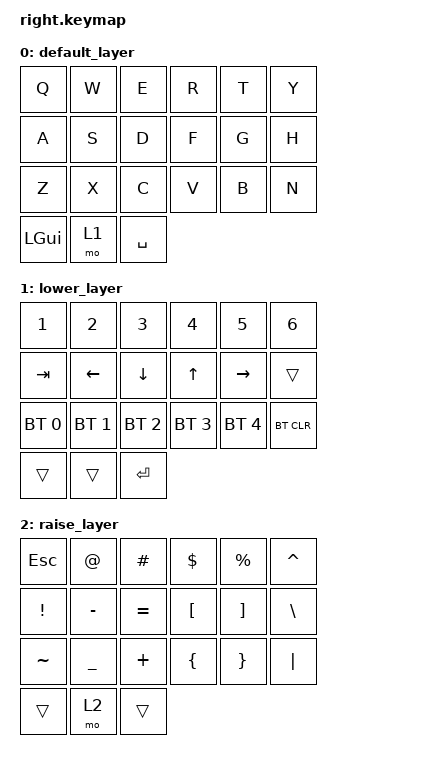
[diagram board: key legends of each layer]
// Copyright (c) 2025
// SPDX-License-Identifier: MIT

#include <behaviors.dtsi>
#include <dt-bindings/zmk/keys.h>
#include <dt-bindings/zmk/bt.h>

/ {
    keymap {
        compatible = "zmk,keymap";
        
        default_layer {
            // -----------------------------------------------------------------------------------------
            // |  Q  |  W  |  E  |  R  |  T  |  Y  |
            // |  A  |  S  |  D  |  F  |  G  |  H  |
            // |  Z  |  X  |  C  |  V  |  B  |  N  |
            // | GUI | LWR | SPC |
            bindings = <
                &kp Q    &kp W    &kp E     &kp R     &kp T     &kp Y
                &kp A    &kp S    &kp D     &kp F     &kp G     &kp H
                &kp Z    &kp X    &kp C     &kp V     &kp B     &kp N
                &kp LGUI &mo 1     &kp SPACE
            >;
        };
        
        lower_layer {
            // -----------------------------------------------------------------------------------------
            // |  1  |  2  |  3  |  4  |  5  |  6  |
            // | TAB | LFT | DWN | UP  | RGT |     |
            // | BT1 | BT2 | BT3 | BT4 | BT5 | CLR |
            // |     |     | ENT |
            bindings = <
                &kp N1       &kp N2       &kp N3       &kp N4       &kp N5       &kp N6
                &kp TAB      &kp LEFT     &kp DOWN     &kp UP       &kp RIGHT    &trans
                &bt BT_SEL 0 &bt BT_SEL 1 &bt BT_SEL 2 &bt BT_SEL 3 &bt BT_SEL 4 &bt BT_CLR
                &trans       &trans       &kp RET
            >;
        };
        
        raise_layer {
            // -----------------------------------------------------------------------------------------
            // | ESC |  @  |  #  |  $  |  %  |  ^  |
            // |  !  |  -  |  =  |  [  |  ]  |  \  |
            // |  ~  |  _  |  +  |  {  |  }  |  |  |
            // |     | RSE |     |
            bindings = <
                &kp ESC   &kp AT    &kp HASH  &kp DLLR  &kp PRCNT &kp CARET
                &kp EXCL  &kp MINUS &kp EQUAL &kp LBKT  &kp RBKT  &kp BSLH
                &kp TILDE &kp UNDER &kp PLUS  &kp LBRC  &kp RBRC  &kp PIPE
                &trans    &mo 2     &trans
            >;
        };
    };
};
